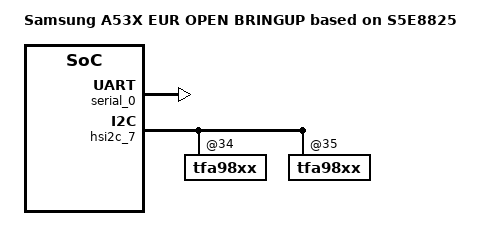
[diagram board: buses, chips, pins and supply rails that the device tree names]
/*
 * SAMSUNG A53X board device tree source
 *
 * Copyright (c) 2026 Samsung Electronics Co., Ltd.
 *		http://www.samsung.com
 *
 * This program is free software; you can redistribute it and/or modify
 * it under the terms of the GNU General Public License version 2 as
 * published by the Free Software Foundation.
 */

#include "s5e8825.a53x_common.dtsi"
#include "s5e8825-a53x_pm_00.dtsi"
#include "camera/s5e8825-a53x-camera_00.dtsi"

/ {
	fragment@model {
		target-path = "/";
		__overlay__ {
			model = "Samsung A53X EUR OPEN BRINGUP based on S5E8825";
		}; /* end of __overlay__ */
	}; /* end of fragment */
}; /* end of root */

&serial_0 {
	status = "okay";
};

&pinctrl_0 {

	dmic1_en: dmic1-en {
		samsung,pins = "gpc2-0";
		samsung,pin-function = <1>;
		samsung,pin-pud = <0>;
		samsung,pin-val = <1>;
	};

	dmic1_en_idle: dmic1-en-idle {
		samsung,pins = "gpc2-0";
		samsung,pin-function = <0>;
		samsung,pin-pud = <0>;
		samsung,pin-val = <0>;
	};

	dmic2_en: dmic2-en {
		samsung,pins = "gpc3-0";
		samsung,pin-function = <1>;
		samsung,pin-pud = <0>;
		samsung,pin-val = <1>;
	};

	dmic2_en_idle: dmic2-en-idle {
		samsung,pins = "gpc3-0";
		samsung,pin-function = <0>;
		samsung,pin-pud = <0>;
		samsung,pin-val = <0>;
	};
};

&vts {
	pinctrl-names = "dmic0_default", "dmic1_default", "dmic2_default", "amic0_default", "amic1_default", "amic2_default", "dmic0_idle", "dmic1_idle", "dmic2_idle", "default";
	pinctrl-0 = <&dmic_bus_clk0 &dmic_pdm0_bus &dmic1_en>;
	pinctrl-1 = <&dmic_bus_clk2 &dmic_pdm2_bus &dmic2_en>;
	pinctrl-2 = <&dmic_bus_clk2 &dmic_pdm2_bus>;
	pinctrl-3 = <&dmic_bus_clk0 &amic_pdm0_bus>;
	pinctrl-4 = <&dmic_bus_clk1 &amic_pdm1_bus>;
	pinctrl-5 = <&dmic_bus_clk2 &amic_pdm2_bus>;
	pinctrl-6 = <&dmic_bus_clk0_idle &dmic_pdm0_idle &dmic1_en_idle>;
	pinctrl-7 = <&dmic_bus_clk2_idle &dmic_pdm2_idle &dmic2_en_idle>;
	pinctrl-8 = <&dmic_bus_clk2_idle &dmic_pdm2_idle>;
	pinctrl-9;
};

&hsi2c_7 {

	tfa98xx@34 {
		pinctrl-names;
		pinctrl-0;
		irq-gpio;
	};

	tfa98xx@35 {
		pinctrl-names = "default";
		pinctrl-0 = <&amp_en>;
		irq-gpio;
	};
};
